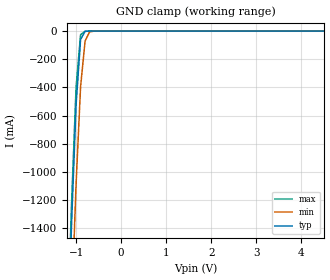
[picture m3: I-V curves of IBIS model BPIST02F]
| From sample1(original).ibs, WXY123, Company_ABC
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|   Model BPIST02F
[Model]   BPIST02F
Model_type   Input
Polarity   Non-Inverting
Vinl = 0.8V
Vinh = 2.0V
C_comp   2.93pF   NA   NA
[Temperature Range]   25   125   0
[Voltage Range]   3.3V   3.0V   3.6V
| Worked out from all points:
|   GND clamp passes 1 mA (typ) near -0.75 V on its own axis
[GND_clamp]
| voltage   I(typ)   I(min)   I(max)
-3.3V     -25.3A     -25.75A    -25.21A
-1.2V     -2.336A    -2.94A     -2.195A
-1.1V     -1.367A    -1.972A    -1.224A
-1V       -523.7mA   -1.087A    -398.8mA
-900mV    -59.96mA   -395.6mA   -25.36mA
-800mV    -1.772mA   -70.55mA   -648.1uA
-700mV    -131.6uA   -5.518mA   -144.6uA
-600mV    -41.86uA   -362.9uA   -54.81uA
6.5V      318.6pA    765.3pA    292.3pA
